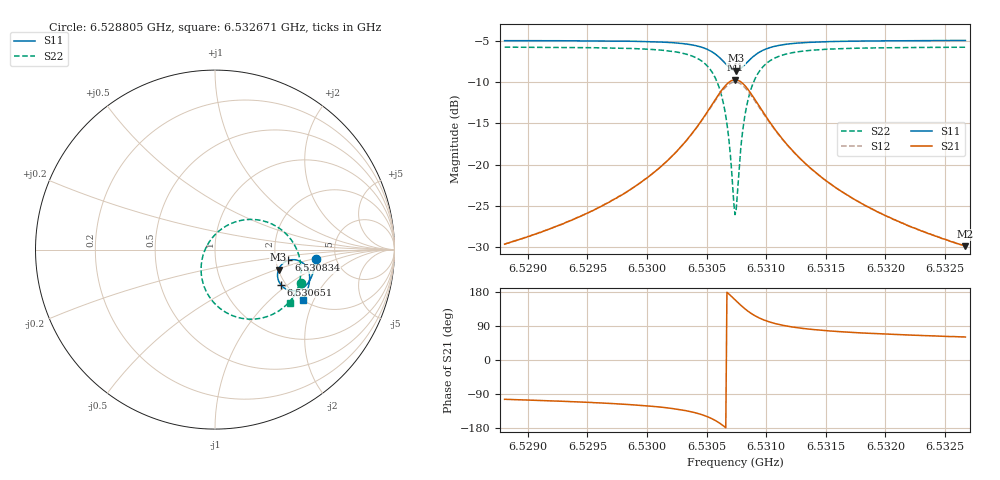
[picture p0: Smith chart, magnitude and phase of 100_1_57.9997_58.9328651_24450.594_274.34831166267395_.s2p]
#  HZ  S  RI  R  50.00
! Rohde & Schwarz Vector Network Analyzer
! Rohde-Schwarz,ZNB20-2Port,1311601062101988,3.16
! Created: UTC 3/21/2024, 12:54:46 AM
! freq[Hz]  re:S11  im:S11  re:S21  im:S21  re:S12  im:S12  re:S22  im:S22
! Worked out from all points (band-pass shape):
!   401 points, 6.528805 GHz to 6.532671 GHz, reference 50 ohm
!   highest |S21| = -9.72 dB at 6.530738 GHz (marker M1); lowest = -29.9 dB at 6.532671 GHz (marker M2)
!   |S21| within 3 dB of the highest: 6.530546 GHz to 6.530932 GHz (386.7 kHz wide, 0.00592 % of centre)
!   lowest |S11| = -8.6 dB at 6.530748 GHz (marker M3), VSWR 2.18, Z = 100 - j25.9 ohm
!   |S11| at or under -10 dB: nowhere
!   |S22| runs from -26.0 to -5.8 dB; largest |S21 - S12| = 0.014
!   S11 on the Smith chart (normalised r, x): 6.528805 GHz: 3.48, -0.56; 6.530651 GHz: 1.88, -0.88; 6.530834 GHz: 2.35, -0.34; 6.532671 GHz: 2.00, -1.66
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6.528805e9  0.5607 -0.055  -0.00788 -0.0321  -0.0086 -0.032  0.4806 -0.1844
6.5294525e9  0.5514 -0.1103  -0.0177 -0.0458  -0.0189 -0.0455  0.4483 -0.2465
6.5298101e9  0.5406 -0.1448  -0.0301 -0.0599  -0.0319 -0.0593  0.4148 -0.2905
6.5301e9  0.5239 -0.178  -0.053 -0.0789  -0.0554 -0.0775  0.363 -0.3365
6.5303223e9  0.4965 -0.2084  -0.095 -0.1001  -0.0981 -0.0967  0.2778 -0.3768
6.5304866e9  0.4509 -0.2288  -0.1675 -0.1076  -0.17 -0.1005  0.1447 -0.3821
6.5305832e9  0.4035 -0.2234  -0.2416 -0.0807  -0.2406 -0.07  0.0207 -0.3217
6.5306509e9  0.3658 -0.1947  -0.2968 -0.0192  -0.2903 -0.00795  -0.0598 -0.2072
6.5306799e9  0.354 -0.1732  -0.3116 0.0217  -0.3025 0.0315  -0.0764 -0.1365
6.5307185e9  0.3485 -0.1384  -0.3135 0.0852  -0.3018 0.0913  -0.0668 -0.0323
6.5307379e9  0.3514 -0.1201  -0.3049 0.1173  -0.2927 0.1211  -0.0464 0.0183
6.5307475e9  0.3542 -0.1114  -0.2984 0.1324  -0.2861 0.1352  -0.0326 0.042
6.5307572e9  0.3578 -0.1029  -0.2902 0.1469  -0.2781 0.1487  -0.0167 0.0641
6.5307958e9  0.3804 -0.0754  -0.2467 0.1937  -0.2364 0.1917  0.0632 0.1321
6.5308345e9  0.4088 -0.0601  -0.1951 0.2189  -0.1874 0.2153  0.1531 0.1643
6.5309021e9  0.4546 -0.0583  -0.1148 0.2222  -0.111 0.2185  0.2878 0.1542
6.5309988e9  0.4956 -0.0801  -0.0453 0.1898  -0.0436 0.1879  0.4001 0.0836
6.5311438e9  0.5201 -0.1167  -0.00314 0.1407  -0.00179 0.1401  0.4622 -0.0166
6.5313854e9  0.5274 -0.1608  0.0152 0.0922  0.0163 0.0918  0.4788 -0.1186
6.531656e9  0.5232 -0.195  0.0185 0.0645  0.0194 0.0642  0.4707 -0.1825
6.5320329e9  0.5126 -0.2315  0.0181 0.0446  0.0189 0.0442  0.4521 -0.2377
6.5326707e9  0.4897 -0.2817  0.0158 0.028  0.0163 0.0279  0.4191 -0.2977
